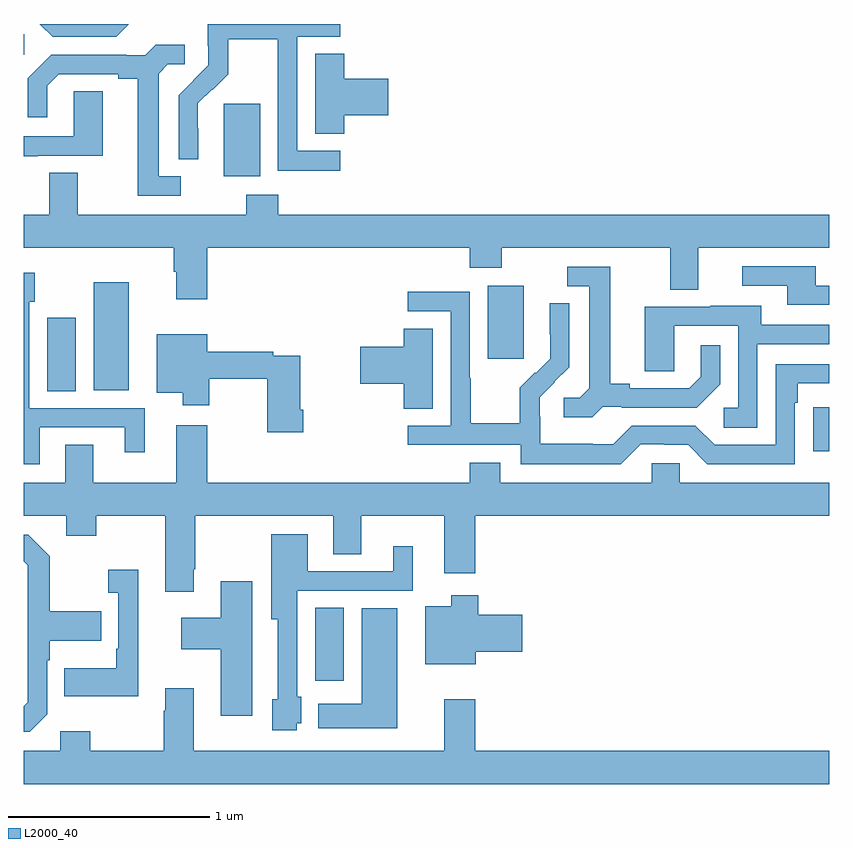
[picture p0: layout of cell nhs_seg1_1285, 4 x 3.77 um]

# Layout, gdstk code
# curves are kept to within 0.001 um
import gdstk
lib = gdstk.Library(unit=1e-6, precision=1e-09)
def R(c, l, rs):  # rectangles x0, y0, x1, y1
    for r in rs: c.add(gdstk.rectangle(r[:2], r[2:], *l))
def P(c, l, *ps):  # polygons
    for p in ps: c.add(gdstk.Polygon(p, *l))
L2000_40 = (2000, 40)

nhs_seg1_1285 = lib.new_cell('nhs_seg1_1285')
R(nhs_seg1_1285, L2000_40, [(182.447,526.938,182.59,527.3), (184.921,528.078,185,528.296), (181.115,528.376,181.258,528.739), (181.346,528.38,181.522,528.916), (183.305,528.537,183.484,528.898), (181.994,529.442,182.173,529.803), (181,530.046,181.003,530.147)])
P(nhs_seg1_1285, L2000_40, [(181.521,530.199),(181.08,530.199),(181.143,530.136),(181.458,530.136)],
  [(182.572,529.569),(182.358,529.569),(182.358,530.136),(182.572,530.136),(182.572,530.199),(181.914,530.199),(181.914,530.091),(181.916,530.091),(181.916,529.994),(181.77,529.846),(181.77,529.528),(181.866,529.528),(181.865,529.805),(181.935,529.875),(181.938,529.872),(182.015,529.949),(182.015,530.124),(182.26,530.124),(182.26,529.9),(182.262,529.9),(182.262,529.471),(182.572,529.471)],
  [(181.78,529.443),(181.669,529.443),(181.669,529.951),(181.716,529.998),(181.798,529.998),(181.798,530.095),(181.654,530.095),(181.602,530.043),(181.508,530.043),(181.508,530.046),(181.136,530.046),(181.02,529.93),(181.02,529.737),(181.117,529.737),(181.117,529.893),(181.174,529.95),(181.469,529.95),(181.469,529.928),(181.565,529.928),(181.565,529.347),(181.78,529.347)],
  [(182.591,529.745),(182.809,529.745),(182.809,529.928),(182.591,529.928),(182.591,530.051),(182.447,530.051),(182.447,529.654),(182.591,529.654)],
  [(181.069,529.545),(181.393,529.545),(181.393,529.865),(181.248,529.865),(181.248,529.641),(181,529.641),(181,529.541),(181.069,529.541)],
  [(182.104,529.351),(182.104,529.252),(181.267,529.252),(181.267,529.46),(181.127,529.46),(181.127,529.252),(181,529.252),(181,529.088),(181.745,529.088),(181.745,528.968),(181.757,528.968),(181.757,528.831),(181.91,528.831),(181.91,529.088),(183.215,529.088),(183.215,528.989),(183.375,528.989),(183.375,529.088),(184.211,529.088),(184.211,528.88),(184.351,528.88),(184.351,529.088),(185,529.088),(185,529.252),(182.264,529.252),(182.264,529.351)],
  [(185,528.9),(184.933,528.9),(184.933,528.996),(184.569,528.996),(184.569,528.9),(184.793,528.9),(184.793,528.804),(185,528.804)],
  [(183.876,528.297),(183.97,528.297),(183.97,528.294),(184.342,528.294),(184.458,528.41),(184.458,528.604),(184.361,528.604),(184.361,528.447),(184.304,528.39),(184.009,528.39),(184.009,528.413),(183.913,528.413),(183.913,528.993),(183.699,528.993),(183.699,528.897),(183.809,528.897),(183.809,528.389),(183.762,528.342),(183.681,528.342),(183.681,528.245),(183.824,528.245)],
  [(181.078,528.195),(181.502,528.195),(181.502,528.072),(181.6,528.072),(181.6,528.291),(181.026,528.291),(181.026,528.819),(181.053,528.819),(181.053,528.964),(181,528.964),(181,528.011),(181.078,528.011)],
  [(184.065,528.111),(184.181,528.111),(184.181,528.108),(184.299,528.108),(184.395,528.012),(184.83,528.012),(184.83,528.317),(184.843,528.317),(184.843,528.414),(185,528.414),(185,528.51),(184.734,528.51),(184.734,528.108),(184.431,528.108),(184.335,528.204),(184.02,528.204),(183.927,528.111),(183.827,528.111),(183.827,528.115),(183.564,528.115),(183.564,528.249),(183.562,528.249),(183.562,528.346),(183.708,528.494),(183.708,528.812),(183.612,528.812),(183.612,528.658),(183.614,528.658),(183.614,528.536),(183.543,528.465),(183.54,528.468),(183.463,528.391),(183.463,528.217),(183.219,528.217),(183.219,528.44),(183.216,528.44),(183.216,528.87),(182.907,528.87),(182.907,528.771),(183.12,528.771),(183.12,528.204),(182.907,528.204),(182.907,528.108),(183.468,528.108),(183.468,528.011),(183.965,528.011)],
  [(184.644,528.609),(185,528.609),(185,528.705),(184.663,528.705),(184.663,528.799),(184.409,528.799),(184.409,528.795),(184.085,528.795),(184.085,528.475),(184.23,528.475),(184.23,528.699),(184.548,528.699),(184.548,528.294),(184.476,528.294),(184.476,528.193),(184.644,528.193)],
  [(183.031,528.686),(182.888,528.686),(182.888,528.596),(182.67,528.596),(182.67,528.413),(182.888,528.413),(182.888,528.289),(183.031,528.289)],
  [(182.387,528.283),(182.374,528.283),(182.374,528.552),(182.24,528.552),(182.24,528.572),(181.912,528.572),(181.912,528.658),(181.661,528.658),(181.661,528.368),(181.79,528.368),(181.79,528.306),(181.92,528.306),(181.92,528.436),(182.209,528.436),(182.209,528.171),(182.387,528.171)],
  [(181.205,527.92),(181,527.92),(181,527.756),(181.211,527.756),(181.211,527.657),(181.359,527.657),(181.359,527.756),(181.703,527.756),(181.703,527.379),(181.843,527.379),(181.843,527.491),(181.851,527.491),(181.851,527.756),(182.537,527.756),(182.537,527.566),(182.677,527.566),(182.677,527.756),(183.089,527.756),(183.089,527.472),(183.242,527.472),(183.242,527.756),(185,527.756),(185,527.92),(184.257,527.92),(184.257,528.018),(184.119,528.018),(184.119,527.92),(183.367,527.92),(183.367,528.019),(183.215,528.019),(183.215,527.92),(181.91,527.92),(181.91,528.205),(181.757,528.205),(181.757,527.92),(181.345,527.92),(181.345,528.11),(181.205,528.11)],
  [(182.356,526.725),(182.377,526.725),(182.377,526.857),(182.358,526.857),(182.358,527.385),(182.932,527.385),(182.932,527.605),(182.834,527.605),(182.834,527.481),(182.41,527.481),(182.41,527.665),(182.228,527.665),(182.228,527.243),(182.262,527.243),(182.262,526.845),(182.234,526.845),(182.234,526.691),(182.356,526.691)],
  [(181.116,526.77),(181.116,527.039),(181.129,527.039),(181.129,527.135),(181.385,527.135),(181.385,527.283),(181.129,527.283),(181.129,527.555),(181.023,527.661),(181,527.661),(181,527.531),(181.02,527.511),(181.02,526.83),(181,526.81),(181,526.683),(181.029,526.683)],
  [(181.568,527.488),(181.419,527.488),(181.419,527.375),(181.47,527.375),(181.47,527.095),(181.458,527.095),(181.458,526.999),(181.201,526.999),(181.201,526.859),(181.568,526.859)],
  [(182.134,527.431),(181.979,527.431),(181.979,527.251),(181.782,527.251),(181.782,527.093),(181.979,527.093),(181.979,526.764),(182.134,526.764)],
  [(183.244,527.081),(183.475,527.081),(183.475,527.264),(183.257,527.264),(183.257,527.362),(183.122,527.362),(183.122,527.308),(182.993,527.308),(182.993,527.018),(183.244,527.018)],
  [(182.854,527.296),(182.678,527.296),(182.678,526.822),(182.462,526.822),(182.462,526.7),(182.854,526.7)],
  [(185,526.588),(183.242,526.588),(183.242,526.846),(183.089,526.846),(183.089,526.588),(181.843,526.588),(181.843,526.9),(181.703,526.9),(181.703,526.787),(181.696,526.787),(181.696,526.588),(181.329,526.588),(181.329,526.687),(181.182,526.687),(181.182,526.588),(181,526.588),(181,526.424),(185,526.424)])

lib.write_gds('nhs_seg1_1285.gds')
